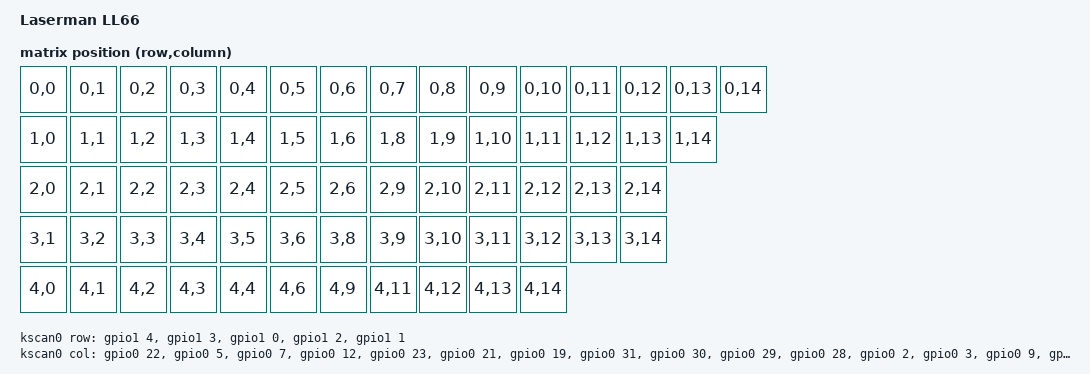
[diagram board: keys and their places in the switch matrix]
/*
 * Copyright (c) 2020 The ZMK Contributors
 *
 * SPDX-License-Identifier: MIT
 */

/dts-v1/;
#include <nordic/nrf52840_qiaa.dtsi>
#include <common/nordic/nrf52840_uf2_boot_mode.dtsi>
#include <dt-bindings/led/led.h>
#include <dt-bindings/zmk/hid_indicators.h>

#include "ll66-layouts.dtsi"
#include <dt-bindings/zmk/matrix_transform.h>

&physical_layout_ll66 {
    transform = <&matrix_transform0>;
};


/ {
    model = "Laserman LL66";
    compatible = "ll66";

    chosen {
        zephyr,code-partition = &code_partition;
        zephyr,sram = &sram0;
        zephyr,flash = &flash0;
        zmk,physical-layout = &physical_layout_ll66;
        zmk,kscan = &kscan0;
        zmk,battery = &vbatt;
    };

    leds {
        compatible = "gpio-leds";
        red_led: led_0 {
            gpios = <&gpio1 15 GPIO_ACTIVE_LOW>;
        };
        green_led: led_1 {
            gpios = <&gpio1 13 GPIO_ACTIVE_LOW>;
        };
        blue_led: led_2 {
            gpios = <&gpio1 11 GPIO_ACTIVE_LOW>;
        };
        caps_lock_led: caps_lock_led {
            gpios = <&gpio1 6 GPIO_ACTIVE_LOW>;
        };
    };

    aliases {
        led-red = &red_led;
        led-green = &green_led;
        led-blue = &blue_led;
    };

    indicators {
        compatible = "zmk,indicator-leds";

        caps_lock_indicator: caps_lock {
            indicator = <HID_INDICATOR_CAPS_LOCK>;
            leds = <&caps_lock_led>;
        };
    };

    kscan0: kscan0 {
        compatible = "zmk,kscan-gpio-matrix";
        diode-direction = "col2row";
        wakeup-source;

        col-gpios
            = <&gpio0 22 GPIO_ACTIVE_HIGH>
            , <&gpio0 5 GPIO_ACTIVE_HIGH>
            , <&gpio0 7 GPIO_ACTIVE_HIGH>
            , <&gpio0 12 GPIO_ACTIVE_HIGH>
            , <&gpio0 23 GPIO_ACTIVE_HIGH>
            , <&gpio0 21 GPIO_ACTIVE_HIGH>
            , <&gpio0 19 GPIO_ACTIVE_HIGH>
            , <&gpio0 31 GPIO_ACTIVE_HIGH>
            , <&gpio0 30 GPIO_ACTIVE_HIGH>
            , <&gpio0 29 GPIO_ACTIVE_HIGH>
            , <&gpio0 28 GPIO_ACTIVE_HIGH>
            , <&gpio0 2 GPIO_ACTIVE_HIGH>
            , <&gpio0 3 GPIO_ACTIVE_HIGH>
            , <&gpio0 9 GPIO_ACTIVE_HIGH>
            , <&gpio0 10 GPIO_ACTIVE_HIGH>
            ;

        row-gpios
            = <&gpio1 4 (GPIO_ACTIVE_HIGH | GPIO_PULL_DOWN)>
            , <&gpio1 3 (GPIO_ACTIVE_HIGH | GPIO_PULL_DOWN)>
            , <&gpio1 0 (GPIO_ACTIVE_HIGH | GPIO_PULL_DOWN)>
            , <&gpio1 2 (GPIO_ACTIVE_HIGH | GPIO_PULL_DOWN)>
            , <&gpio1 1 (GPIO_ACTIVE_HIGH | GPIO_PULL_DOWN)>
            ;
    };

    matrix_transform0: matrix_transform0 {
        compatible = "zmk,matrix-transform";
        columns = <15>;
        rows = <5>;
        map = <
            RC(0,0) RC(0,1) RC(0,2) RC(0,3) RC(0,4) RC(0,5) RC(0,6) RC(0,7) RC(0,8) RC(0,9) RC(0,10) RC(0,11) RC(0,12) RC(0,13) RC(0,14)
            RC(1,0) RC(1,1) RC(1,2) RC(1,3) RC(1,4) RC(1,5) RC(1,6) RC(1,8) RC(1,9) RC(1,10) RC(1,11) RC(1,12) RC(1,13) RC(1,14)
            RC(2,0) RC(2,1) RC(2,2) RC(2,3) RC(2,4) RC(2,5) RC(2,6) RC(2,9) RC(2,10) RC(2,11) RC(2,12) RC(2,13) RC(2,14)
            RC(3,1) RC(3,2) RC(3,3) RC(3,4) RC(3,5) RC(3,6) RC(3,8) RC(3,9) RC(3,10) RC(3,11) RC(3,12) RC(3,13) RC(3,14)
            RC(4,0) RC(4,1) RC(4,2) RC(4,3) RC(4,4) RC(4,6) RC(4,9) RC(4,11) RC(4,12) RC(4,13) RC(4,14)
        >;
    };
     vbatt: vbatt {
		compatible = "zmk,battery-voltage-divider";
		io-channels = <&adc 2>;
		output-ohms = <2000000>;
		full-ohms = <(2000000 + 1000000)>;
	};
};

&uicr {
    nfct-pins-as-gpios;
};

&adc {
	status = "okay";
};

&gpiote {
	status = "okay";
};

&gpio0 {
	status = "okay";
};

&gpio1 {
	status = "okay";
};

zephyr_udc0: &usbd {
    status = "okay";
};

&flash0 {
	/*
	 * For more information, see:
	 * http://docs.zephyrproject.org/latest/devices/dts/flash_partitions.html
	 */
	partitions {
		compatible = "fixed-partitions";
		#address-cells = <1>;
		#size-cells = <1>;

		sd_partition: partition@0 {
			label = "softdevice";
			reg = <0x00000000 0x00026000>;
		};
		code_partition: partition@26000 {
			label = "code_partition";
			reg = <0x00026000 0x000c6000>;
		};

		/*
		 * The flash starting at 0x000ec000 and ending at
		 * 0x000f3fff is reserved for use by the application.
		 */

		/*
		 * Storage partition will be used by FCB/LittleFS/NVS
		 * if enabled.
		 */
		storage_partition: partition@ec000 {
			label = "storage";
			reg = <0x000ec000 0x00008000>;
		};

		boot_partition: partition@f4000 {
			label = "adafruit_boot";
			reg = <0x000f4000 0x0000c000>;
		};
	};
};
